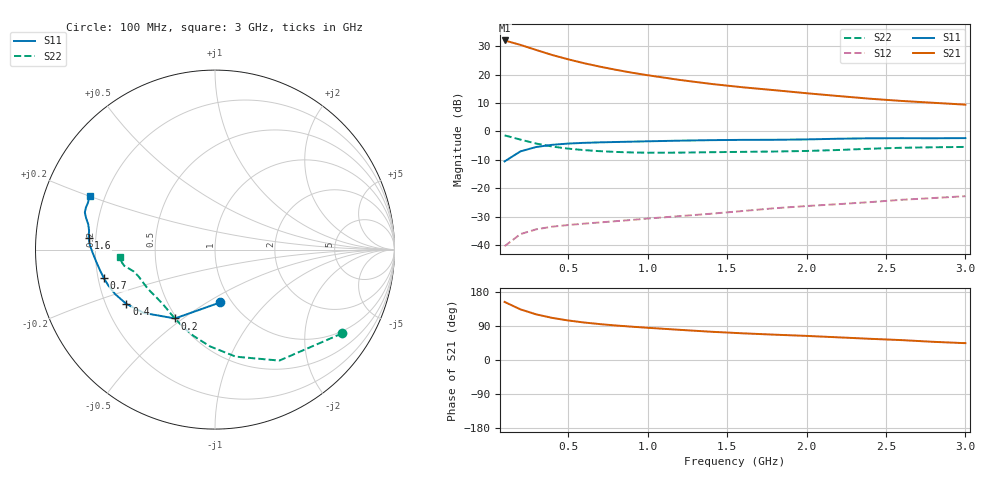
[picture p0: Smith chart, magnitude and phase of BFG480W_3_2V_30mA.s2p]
! Filename: 3_230BFG480.001
! Title: BFG480W
! Bias: Vce=3.2V; Ic=30mA
! Company: Philips Semiconductors NL
! User: Quality&Reliability T&D
! Measure time: 10 Nov 1999 / 11:56:35
#  MHz  S  MA  R 50
! Freq  S11  S21  S12  S22  :
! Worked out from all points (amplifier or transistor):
!   20 points, 100 MHz to 3 GHz, reference 50 ohm
!   highest |S21| = 32.0 dB at 100 MHz (marker M1)
!   |S21| within 3 dB of that: start of sweep to 279.3 MHz
!   unconditionally stable (mu >= 1): 1.172 GHz to end of sweep
!   at 400 MHz: K = 0.50, MSG = 30.2 dB, |S12| = -33.6 dB
!   at 1.2 GHz: K = 1.01, MAG = 23.4 dB, |S12| = -29.9 dB
!   at 3 GHz: K = 1.09, MAG = 14.3 dB, |S12| = -22.8 dB
!   S11 on the Smith chart (normalised r, x): 100 MHz: 0.89, -0.57; 200 MHz: 0.49, -0.47; 400 MHz: 0.29, -0.26; 700 MHz: 0.22, -0.12; 1.6 GHz: 0.17, +0.05; 3 GHz: 0.14, +0.20
100  0.2954 -84.0  39.78 153.2  0.009507 67.0  0.8488 -33.4
200  0.4438 -120.2  33.21 133.5  0.01553 54.7  0.7147 -59.9
300  0.5307 -138.3  26.97 120.3  0.01885 48.9  0.6076 -79.0
400  0.5792 -148.5  22.05 111.1  0.02097 46.3  0.5392 -93.1
500  0.6089 -155.9  18.52 104.3  0.0224 45.8  0.4955 -104.0
600  0.6269 -161.3  15.82 99.0  0.0237 46.1  0.4669 -112.3
700  0.639 -165.5  13.76 94.7  0.02489 47.6  0.4471 -119.0
800  0.6485 -169.0  12.12 91.0  0.02619 49.4  0.4335 -124.7
900  0.6577 -172.0  10.78 87.9  0.02754 51.5  0.4249 -129.5
1000  0.667 -174.7  9.719 85.1  0.02912 53.4  0.4203 -134.0
1200  0.6849 -179.2  8.046 79.7  0.03212 56.9  0.4215 -141.4
1400  0.6993 177.5  6.83 74.5  0.03542 59.8  0.4289 -147.1
1600  0.7072 174.6  5.957 70.4  0.03957 62.7  0.4349 -151.4
1800  0.7094 171.5  5.295 66.8  0.04428 65.1  0.441 -155.7
2000  0.7202 168.7  4.683 63.6  0.04835 67.0  0.4511 -160.6
2200  0.7403 166.1  4.181 59.8  0.05221 68.3  0.469 -164.9
2400  0.7543 164.0  3.748 55.9  0.05667 68.9  0.4938 -167.9
2600  0.7564 162.1  3.424 52.5  0.06237 69.2  0.5137 -169.9
2800  0.7545 159.7  3.178 47.9  0.06693 68.6  0.5235 -172.1
3000  0.7598 156.9  2.949 44.4  0.07212 68.6  0.5315 -175.3
